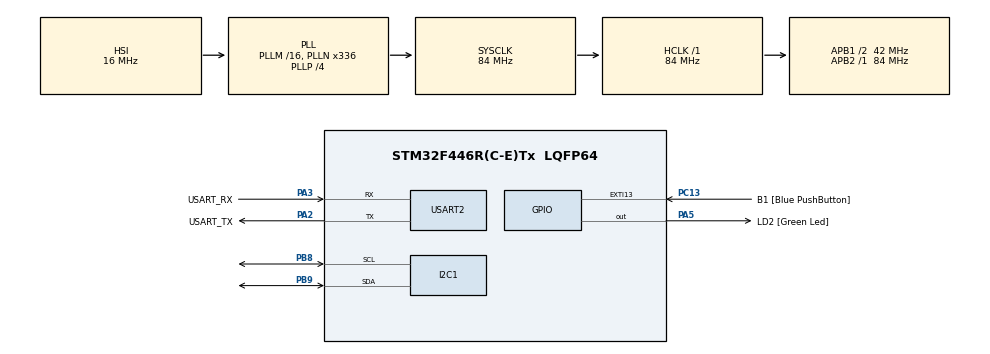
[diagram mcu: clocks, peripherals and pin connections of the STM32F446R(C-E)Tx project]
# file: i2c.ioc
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I2C1.OwnAddress=0x45
Mcu.Family=STM32F4
Mcu.Name=STM32F446R(C-E)Tx
Mcu.Package=LQFP64
NVIC.I2C1_ER_IRQn=true\:0\:0\:false\:false\:true\:true\:true\:true
NVIC.I2C1_EV_IRQn=true\:0\:0\:false\:false\:true\:true\:true\:true
NVIC.PriorityGroup=NVIC_PRIORITYGROUP_0
PA13.GPIO_Label=TMS
PA13.Mode=Serial_Wire
PA13.Signal=SYS_JTMS-SWDIO
PA14.GPIO_Label=TCK
PA14.Mode=Serial_Wire
PA14.Signal=SYS_JTCK-SWCLK
PA2.GPIO_Label=USART_TX
PA2.Mode=Asynchronous
PA2.Signal=USART2_TX
PA3.GPIO_Label=USART_RX
PA3.Mode=Asynchronous
PA3.Signal=USART2_RX
PA5.GPIO_Label=LD2 [Green Led]
PA5.Signal=GPIO_Output
PB3.GPIO_Label=SWO
PB3.Signal=SYS_JTDO-SWO
PB8.Mode=I2C
PB8.Signal=I2C1_SCL
PB9.Mode=I2C
PB9.Signal=I2C1_SDA
PC13.GPIO_Label=B1 [Blue PushButton]
PC13.GPIO_ModeDefaultEXTI=GPIO_MODE_IT_FALLING
PC13.Signal=GPXTI13
PC14-OSC32_IN.Mode=LSE-External-Oscillator
PC14-OSC32_IN.Signal=RCC_OSC32_IN
PC15-OSC32_OUT.Mode=LSE-External-Oscillator
PC15-OSC32_OUT.Signal=RCC_OSC32_OUT
PH0-OSC_IN.Mode=HSE-External-Oscillator
PH0-OSC_IN.Signal=RCC_OSC_IN
PH1-OSC_OUT.Mode=HSE-External-Oscillator
PH1-OSC_OUT.Signal=RCC_OSC_OUT
ProjectManager.HeapSize=0x200
ProjectManager.StackSize=0x400
ProjectManager.TargetToolchain=STM32CubeIDE
RCC.48MHZClocksFreq_Value=84000000
RCC.AHBFreq_Value=84000000
RCC.APB1CLKDivider=RCC_HCLK_DIV2
RCC.APB1Freq_Value=42000000
RCC.APB1TimFreq_Value=84000000
RCC.APB2Freq_Value=84000000
RCC.APB2TimFreq_Value=84000000
RCC.CortexFreq_Value=84000000
RCC.FLatency-AdvancedSettings=FLASH_LATENCY_2
RCC.HCLKFreq_Value=84000000
RCC.HSE_VALUE=8000000
RCC.HSI_VALUE=16000000
RCC.PLLN=336
RCC.PLLP=RCC_PLLP_DIV4
RCC.SYSCLKFreq_VALUE=84000000
RCC.SYSCLKSource=RCC_SYSCLKSOURCE_PLLCLK
RCC.USBFreq_Value=168000000
RCC.VCOOutputFreq_Value=336000000
USART2.VirtualMode=VM_ASYNC
board=NUCLEO-F446RE

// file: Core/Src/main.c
/* USER CODE BEGIN Header */
/**
  ******************************************************************************
  * @file           : main.c
  * @brief          : Main program body
  ******************************************************************************
  * @attention
  *
  * Copyright (c) 2025 STMicroelectronics.
  * All rights reserved.
  *
  * This software is licensed under terms that can be found in the LICENSE file
  * in the root directory of this software component.
  * If no LICENSE file comes with this software, it is provided AS-IS.
  *
  ******************************************************************************
  */
/* USER CODE END Header */
#include "main.h"

I2C_HandleTypeDef hi2c1;

UART_HandleTypeDef huart2;

/* USER CODE BEGIN PV */
#define TXBUFFERSIZE 4
#define RXBUFFERSIZE 8

int count = 0;

uint8_t aTxBuffer[TXBUFFERSIZE];
uint8_t aRxBuffer[RXBUFFERSIZE];

uint8_t Dato[2];

/* USER CODE END PV */

void SystemClock_Config(void);
static void MX_GPIO_Init(void);
static void MX_USART2_UART_Init(void);
static void MX_I2C1_Init(void);

int main(void)
{

  /* MCU Configuration--------------------------------------------------------*/

  /* Reset of all peripherals, Initializes the Flash interface and the Systick. */
  HAL_Init();

  /* Configure the system clock */
  SystemClock_Config();

  /* Initialize all configured peripherals */
  MX_GPIO_Init();
  MX_USART2_UART_Init();
  MX_I2C1_Init();
  /* USER CODE BEGIN 2 */
  if (HAL_I2C_EnableListen_IT(&hi2c1) != HAL_OK) {
	  Error_Handler();
  }
  /* USER CODE END 2 */

  /* Infinite loop */
  while (1)
  {

  }
}

void SystemClock_Config(void)
{
  RCC_OscInitTypeDef RCC_OscInitStruct = {0};
  RCC_ClkInitTypeDef RCC_ClkInitStruct = {0};

  /** Configure the main internal regulator output voltage
  */
  __HAL_RCC_PWR_CLK_ENABLE();
  __HAL_PWR_VOLTAGESCALING_CONFIG(PWR_REGULATOR_VOLTAGE_SCALE3);

  /** Initializes the RCC Oscillators according to the specified parameters
  * in the RCC_OscInitTypeDef structure.
  */
  RCC_OscInitStruct.OscillatorType = RCC_OSCILLATORTYPE_HSI;
  RCC_OscInitStruct.HSIState = RCC_HSI_ON;
  RCC_OscInitStruct.HSICalibrationValue = RCC_HSICALIBRATION_DEFAULT;
  RCC_OscInitStruct.PLL.PLLState = RCC_PLL_ON;
  RCC_OscInitStruct.PLL.PLLSource = RCC_PLLSOURCE_HSI;
  RCC_OscInitStruct.PLL.PLLM = 16;
  RCC_OscInitStruct.PLL.PLLN = 336;
  RCC_OscInitStruct.PLL.PLLP = RCC_PLLP_DIV4;
  RCC_OscInitStruct.PLL.PLLQ = 2;
  RCC_OscInitStruct.PLL.PLLR = 2;
  if (HAL_RCC_OscConfig(&RCC_OscInitStruct) != HAL_OK)
  {
    Error_Handler();
  }

  /** Initializes the CPU, AHB and APB buses clocks
  */
  RCC_ClkInitStruct.ClockType = RCC_CLOCKTYPE_HCLK|RCC_CLOCKTYPE_SYSCLK
                              |RCC_CLOCKTYPE_PCLK1|RCC_CLOCKTYPE_PCLK2;
  RCC_ClkInitStruct.SYSCLKSource = RCC_SYSCLKSOURCE_PLLCLK;
  RCC_ClkInitStruct.AHBCLKDivider = RCC_SYSCLK_DIV1;
  RCC_ClkInitStruct.APB1CLKDivider = RCC_HCLK_DIV2;
  RCC_ClkInitStruct.APB2CLKDivider = RCC_HCLK_DIV1;

  if (HAL_RCC_ClockConfig(&RCC_ClkInitStruct, FLASH_LATENCY_2) != HAL_OK)
  {
    Error_Handler();
  }
}

static void MX_I2C1_Init(void)
{

  hi2c1.Instance = I2C1;
  hi2c1.Init.ClockSpeed = 100000;
  hi2c1.Init.DutyCycle = I2C_DUTYCYCLE_2;
  hi2c1.Init.OwnAddress1 = 138;
  hi2c1.Init.AddressingMode = I2C_ADDRESSINGMODE_7BIT;
  hi2c1.Init.DualAddressMode = I2C_DUALADDRESS_DISABLE;
  hi2c1.Init.OwnAddress2 = 0;
  hi2c1.Init.GeneralCallMode = I2C_GENERALCALL_DISABLE;
  hi2c1.Init.NoStretchMode = I2C_NOSTRETCH_DISABLE;
  if (HAL_I2C_Init(&hi2c1) != HAL_OK)
  {
    Error_Handler();
  }

}

static void MX_USART2_UART_Init(void)
{

  huart2.Instance = USART2;
  huart2.Init.BaudRate = 115200;
  huart2.Init.WordLength = UART_WORDLENGTH_8B;
  huart2.Init.StopBits = UART_STOPBITS_1;
  huart2.Init.Parity = UART_PARITY_NONE;
  huart2.Init.Mode = UART_MODE_TX_RX;
  huart2.Init.HwFlowCtl = UART_HWCONTROL_NONE;
  huart2.Init.OverSampling = UART_OVERSAMPLING_16;
  if (HAL_UART_Init(&huart2) != HAL_OK)
  {
    Error_Handler();
  }

}

static void MX_GPIO_Init(void)
{
  GPIO_InitTypeDef GPIO_InitStruct = {0};

  /* GPIO Ports Clock Enable */
  __HAL_RCC_GPIOC_CLK_ENABLE();
  __HAL_RCC_GPIOH_CLK_ENABLE();
  __HAL_RCC_GPIOA_CLK_ENABLE();
  __HAL_RCC_GPIOB_CLK_ENABLE();

  /*Configure GPIO pin Output Level */
  HAL_GPIO_WritePin(LD2_GPIO_Port, LD2_Pin, GPIO_PIN_RESET);

  /*Configure GPIO pin : B1_Pin */
  GPIO_InitStruct.Pin = B1_Pin;
  GPIO_InitStruct.Mode = GPIO_MODE_IT_FALLING;
  GPIO_InitStruct.Pull = GPIO_NOPULL;
  HAL_GPIO_Init(B1_GPIO_Port, &GPIO_InitStruct);

  /*Configure GPIO pin : LD2_Pin */
  GPIO_InitStruct.Pin = LD2_Pin;
  GPIO_InitStruct.Mode = GPIO_MODE_OUTPUT_PP;
  GPIO_InitStruct.Pull = GPIO_NOPULL;
  GPIO_InitStruct.Speed = GPIO_SPEED_FREQ_LOW;
  HAL_GPIO_Init(LD2_GPIO_Port, &GPIO_InitStruct);

}

/* USER CODE BEGIN 4 */
void HAL_I2C_ListenCpltCallback(I2C_HandleTypeDef *hi2c) {
	HAL_I2C_EnableListen_IT(hi2c);
}

void HAL_I2C_SlaveTxCpltCallback(I2C_HandleTypeDef *I2cHandle) {

	    aTxBuffer[0] = '0';
	    aTxBuffer[1] = '1';
	    aTxBuffer[2] = '0';
	    aTxBuffer[3] = '0';

}

void HAL_I2C_SlaveRxCpltCallback(I2C_HandleTypeDef *I2cHandle) {
    // Prueba si realmente entra al callback
    HAL_GPIO_TogglePin(LD2_GPIO_Port, LD2_Pin); // LED verde

}

void HAL_I2C_ErrorCallback(I2C_HandleTypeDef *I2cHandle) {
    HAL_GPIO_WritePin(LD2_GPIO_Port, LD2_Pin, GPIO_PIN_SET);  // LED ON permanente en error
}

void HAL_I2C_AddrCallback(I2C_HandleTypeDef *hi2c, uint8_t TransferDirection, uint16_t AddrMatchCode){
	if (TransferDirection == I2C_DIRECTION_TRANSMIT){
		if (HAL_I2C_Slave_Seq_Receive_IT(&hi2c1, (uint8_t*) Dato,
				RXBUFFERSIZE, I2C_FIRST_AND_LAST_FRAME) !=HAL_OK) {
			Error_Handler();
		}
	} else if (TransferDirection == I2C_DIRECTION_RECEIVE) {
		if (HAL_I2C_Slave_Seq_Transmit_IT(&hi2c1, (uint8_t*) aTxBuffer, 4, I2C_FIRST_AND_LAST_FRAME) != HAL_OK){
			Error_Handler();
		}
	}

	uint8_t valor = Dato[0];

	    for (int i = 0; i < 8; i++) {
	        aRxBuffer[i] = (valor >> (7 - i)) & 0x01;}
}

//void HAL_I2C_ErrorCallback(I2C_HandlerTypeDef *I2cHandle)
/* USER CODE END 4 */

void Error_Handler(void)
{
  __disable_irq();
  while (1)
  {
  }
}
